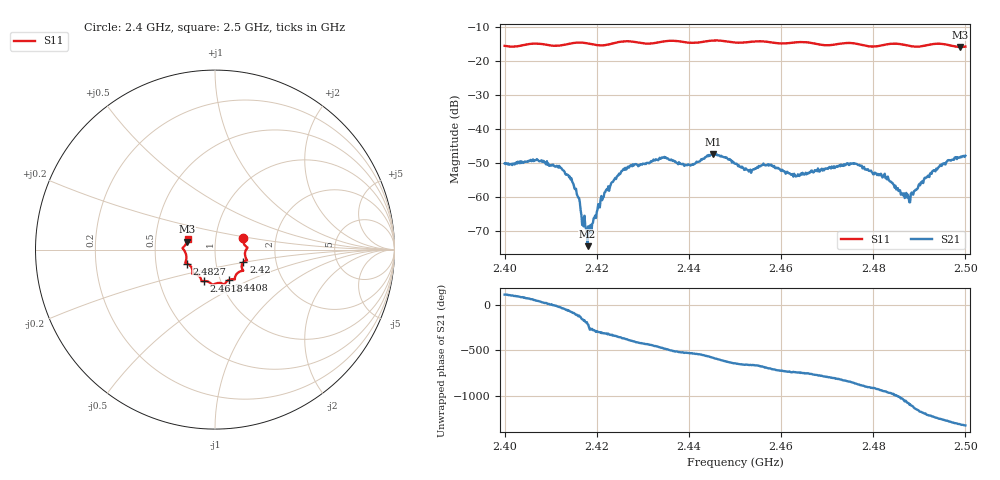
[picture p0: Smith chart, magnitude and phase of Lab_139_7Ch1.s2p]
# Hz S RI R 50
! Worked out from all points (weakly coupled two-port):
!   601 points, 2.4 GHz to 2.5 GHz, reference 50 ohm
!   highest |S21| = -47.40 dB at 2.4452 GHz (marker M1); lowest = -74.6 dB at 2.418 GHz (marker M2)
!   lowest |S11| = -15.8 dB at 2.4988 GHz (marker M3), VSWR 1.39, Z = 36.4 + j3.34 ohm
!   |S11| at or under -10 dB: start of sweep to end of sweep
!   S12 and S22 are empty: the file has one direction only
!   S11 on the Smith chart (normalised r, x): 2.4 GHz: 1.36, +0.17; 2.42 GHz: 1.36, -0.19; 2.4408 GHz: 1.10, -0.38; 2.4618 GHz: 0.84, -0.30; 2.4827 GHz: 0.72, -0.12; 2.5 GHz: 0.73, +0.09
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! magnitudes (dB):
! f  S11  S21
! 2.4 GHz  -15.5  -50.2
! 2.4067 GHz  -14.8  -49.3
! 2.4123 GHz  -15.3  -51.6
! 2.415 GHz  -14.6  -56.6
! 2.4167 GHz  -14.5  -65.4
! 2.418 GHz  -14.8  -74.6
! 2.42 GHz  -15.3  -64.5
! 2.422 GHz  -15.2  -58.1
! 2.4257 GHz  -14.2  -52.1
! 2.4333 GHz  -14.5  -49.2
! 2.4408 GHz  -14.6  -50.4
! 2.4452 GHz  -13.9  -47.4
! 2.45 GHz  -14.5  -50.3
! 2.4618 GHz  -14.7  -53.1
! 2.4667 GHz  -14.6  -52.3
! 2.4758 GHz  -14.8  -50.3
! 2.4827 GHz  -15.1  -54.5
! 2.4833 GHz  -15.0  -54.9
! 2.4875 GHz  -15.4  -59.4
! 2.4928 GHz  -15.0  -52.5
! 2.4988 GHz  -15.8  -48.5
! 2.5 GHz  -15.7  -47.9
